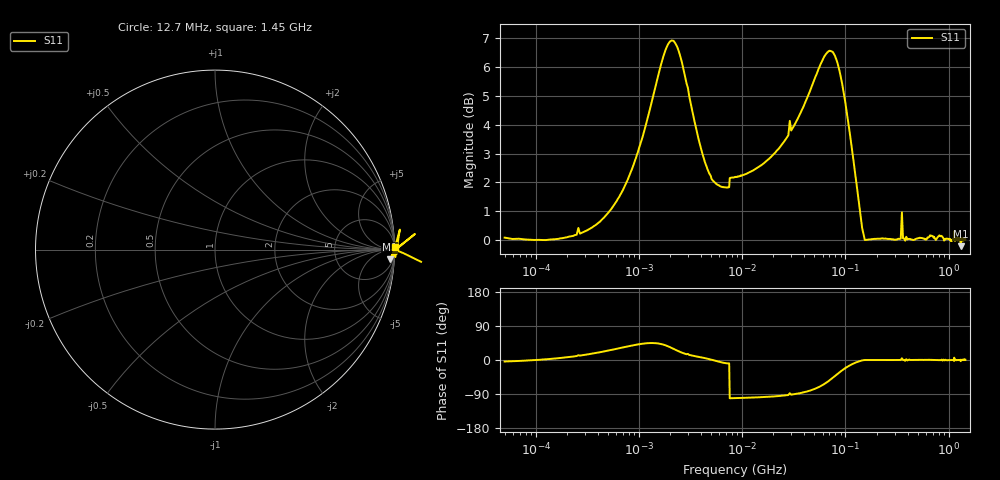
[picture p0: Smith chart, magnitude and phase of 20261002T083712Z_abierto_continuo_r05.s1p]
! piloto_saltos / abierto_continuo / r05
# HZ S RI R 50
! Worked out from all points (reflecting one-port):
!   501 points, 50 kHz to 1.45 GHz, reference 50 ohm
!   lowest |S11| = -0.2 dB at 1.306 GHz (marker M1), VSWR 82.60, Z = 677 - j1.53e+03 ohm
!   phase of S11 starts at -4 deg and turns +5 deg over the sweep
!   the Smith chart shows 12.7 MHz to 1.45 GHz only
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50000  1.008 -0.0695
183000  1.003 0.105
363500  1.008 0.317
658000  1.02 0.6271
1180000  1.146 1.112
1630000  1.49 1.352
1990000  1.83 1.24
2440000  1.959 0.8155
3430000  1.588 0.2952
4870000  1.299 0.0422
7300000  1.219 -0.193
7750000  -0.2413 -1.26
8560000  -0.2342 -1.264
1.72e7  -0.1754 -1.361
3.16e7  -0.0114 -1.577
4.69e7  0.3395 -1.813
5.59e7  0.6597 -1.884
6.4e7  1.004 -1.841
7.39e7  1.399 -1.598
8.65e7  1.65 -1.098
9.82e7  1.626 -0.6741
1e8  1.61 -0.62
1.18e8  1.378 -0.2441
1.36e8  1.148 -0.068
1.63e8  1.002 -0.000668
4.06e8  1.004 0.00195
1.306e9  0.9746 -0.0534
1.45e9  1.002 0.012
